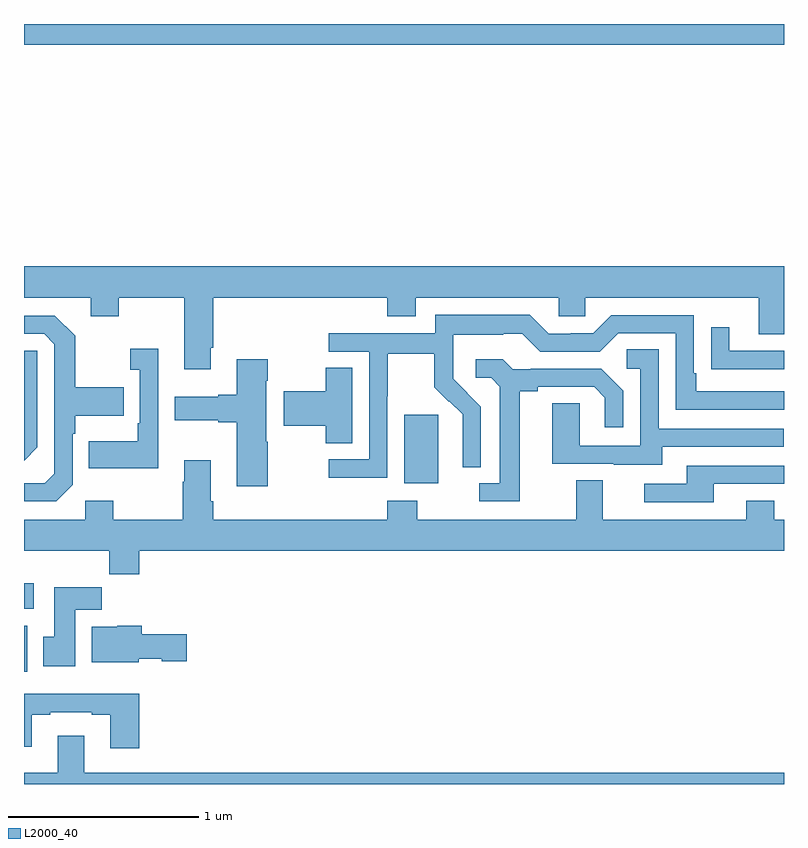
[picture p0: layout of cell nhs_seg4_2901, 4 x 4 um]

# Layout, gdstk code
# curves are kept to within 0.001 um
import gdstk
lib = gdstk.Library(unit=1e-6, precision=1e-09)
def R(c, l, rs):  # rectangles x0, y0, x1, y1
    for r in rs: c.add(gdstk.rectangle(r[:2], r[2:], *l))
def P(c, l, *ps):  # polygons
    for p in ps: c.add(gdstk.Polygon(p, *l))
L2000_40 = (2000, 40)

nhs_seg4_2901 = lib.new_cell('nhs_seg4_2901')
R(nhs_seg4_2901, L2000_40, [(263,821.492,263.017,821.734), (263,821.822,263.05,821.956), (265.001,822.482,265.18,822.843), (263,824.792,267,824.9)])
P(nhs_seg4_2901, L2000_40, [(263.983,823.195),(263.996,823.195),(263.996,823.46),(264.911,823.46),(264.911,823.361),(265.063,823.361),(265.063,823.46),(265.815,823.46),(265.815,823.362),(265.953,823.362),(265.953,823.46),(266.867,823.46),(266.867,823.266),(267,823.266),(267,823.624),(263,823.624),(263,823.46),(263.351,823.46),(263.351,823.361),(263.499,823.361),(263.499,823.46),(263.843,823.46),(263.843,823.083),(263.983,823.083)],
  [(264.912,822.94),(264.915,822.94),(264.915,823.164),(265.159,823.164),(265.159,822.989),(265.236,822.912),(265.239,822.915),(265.31,822.845),(265.31,822.722),(265.308,822.722),(265.308,822.568),(265.404,822.568),(265.404,822.886),(265.258,823.034),(265.258,823.131),(265.26,823.131),(265.26,823.265),(265.523,823.265),(265.523,823.269),(265.623,823.269),(265.716,823.176),(266.031,823.176),(266.127,823.272),(266.43,823.272),(266.43,822.87),(267,822.87),(267,822.966),(266.539,822.966),(266.539,823.063),(266.526,823.063),(266.526,823.368),(266.091,823.368),(265.995,823.272),(265.877,823.272),(265.877,823.269),(265.761,823.269),(265.661,823.369),(265.164,823.369),(265.164,823.272),(264.603,823.272),(264.603,823.176),(264.816,823.176),(264.816,822.609),(264.603,822.609),(264.603,822.511),(264.912,822.511)],
  [(263.256,822.474),(263.256,822.743),(263.269,822.743),(263.269,822.839),(263.525,822.839),(263.525,822.987),(263.269,822.987),(263.269,823.259),(263.163,823.365),(263,823.365),(263,823.269),(263.106,823.269),(263.16,823.215),(263.16,822.534),(263.109,822.483),(263,822.483),(263,822.387),(263.169,822.387)],
  [(267,823.179),(266.713,823.179),(266.713,823.303),(266.617,823.303),(266.617,823.084),(266.719,823.084),(266.719,823.083),(267,823.083)],
  [(263.706,823.192),(263.559,823.192),(263.559,823.079),(263.61,823.079),(263.61,822.799),(263.598,822.799),(263.598,822.703),(263.341,822.703),(263.341,822.563),(263.706,822.563)],
  [(266.359,822.675),(266.999,822.675),(266.999,822.771),(266.34,822.771),(266.34,823.187),(266.172,823.187),(266.172,823.086),(266.244,823.086),(266.244,822.681),(265.926,822.681),(265.926,822.905),(265.781,822.905),(265.781,822.585),(266.105,822.585),(266.105,822.581),(266.359,822.581)],
  [(263.07,822.672),(263.07,823.179),(263,823.179),(263,822.602)],
  [(265.609,822.968),(265.705,822.968),(265.705,822.99),(266,822.99),(266.057,822.933),(266.057,822.777),(266.154,822.777),(266.154,822.97),(266.038,823.086),(265.666,823.086),(265.666,823.083),(265.572,823.083),(265.52,823.135),(265.377,823.135),(265.377,823.038),(265.458,823.038),(265.505,822.991),(265.505,822.483),(265.395,822.483),(265.395,822.387),(265.609,822.387)],
  [(264.282,822.701),(264.274,822.701),(264.274,823.022),(264.282,823.022),(264.282,823.135),(264.119,823.135),(264.119,822.95),(264.023,822.95),(264.023,822.937),(263.793,822.937),(263.793,822.815),(264.023,822.815),(264.023,822.803),(264.119,822.803),(264.119,822.468),(264.282,822.468)],
  [(264.727,823.091),(264.589,823.091),(264.589,822.968),(264.366,822.968),(264.366,822.785),(264.589,822.785),(264.589,822.694),(264.727,822.694)],
  [(263.606,822.128),(267,822.128),(267,822.292),(266.949,822.292),(266.949,822.391),(266.801,822.391),(266.801,822.292),(266.047,822.292),(266.047,822.5),(265.907,822.5),(265.907,822.292),(265.071,822.292),(265.071,822.391),(264.911,822.391),(264.911,822.292),(263.996,822.292),(263.996,822.388),(263.983,822.388),(263.983,822.604),(263.843,822.604),(263.843,822.491),(263.836,822.491),(263.836,822.292),(263.469,822.292),(263.469,822.391),(263.322,822.391),(263.322,822.292),(263,822.292),(263,822.128),(263.449,822.128),(263.449,822.004),(263.606,822.004)],
  [(266.629,822.48),(267,822.48),(267,822.576),(266.489,822.576),(266.489,822.48),(266.265,822.48),(266.265,822.384),(266.629,822.384)],
  [(263.269,821.816),(263.408,821.816),(263.408,821.935),(263.159,821.935),(263.159,821.676),(263.102,821.676),(263.102,821.52),(263.269,821.52)],
  [(263.604,821.558),(263.724,821.558),(263.724,821.546),(263.857,821.546),(263.857,821.688),(263.621,821.688),(263.621,821.734),(263.49,821.734),(263.49,821.728),(263.357,821.728),(263.357,821.54),(263.604,821.54)],
  [(263.606,821.374),(263,821.374),(263,821.096),(263.041,821.096),(263.041,821.265),(263.137,821.265),(263.137,821.277),(263.357,821.277),(263.357,821.265),(263.453,821.265),(263.453,821.088),(263.606,821.088)],
  [(267,820.96),(263.317,820.96),(263.317,821.155),(263.177,821.155),(263.177,820.96),(263,820.96),(263,820.9),(267,820.9)])

lib.write_gds('nhs_seg4_2901.gds')
